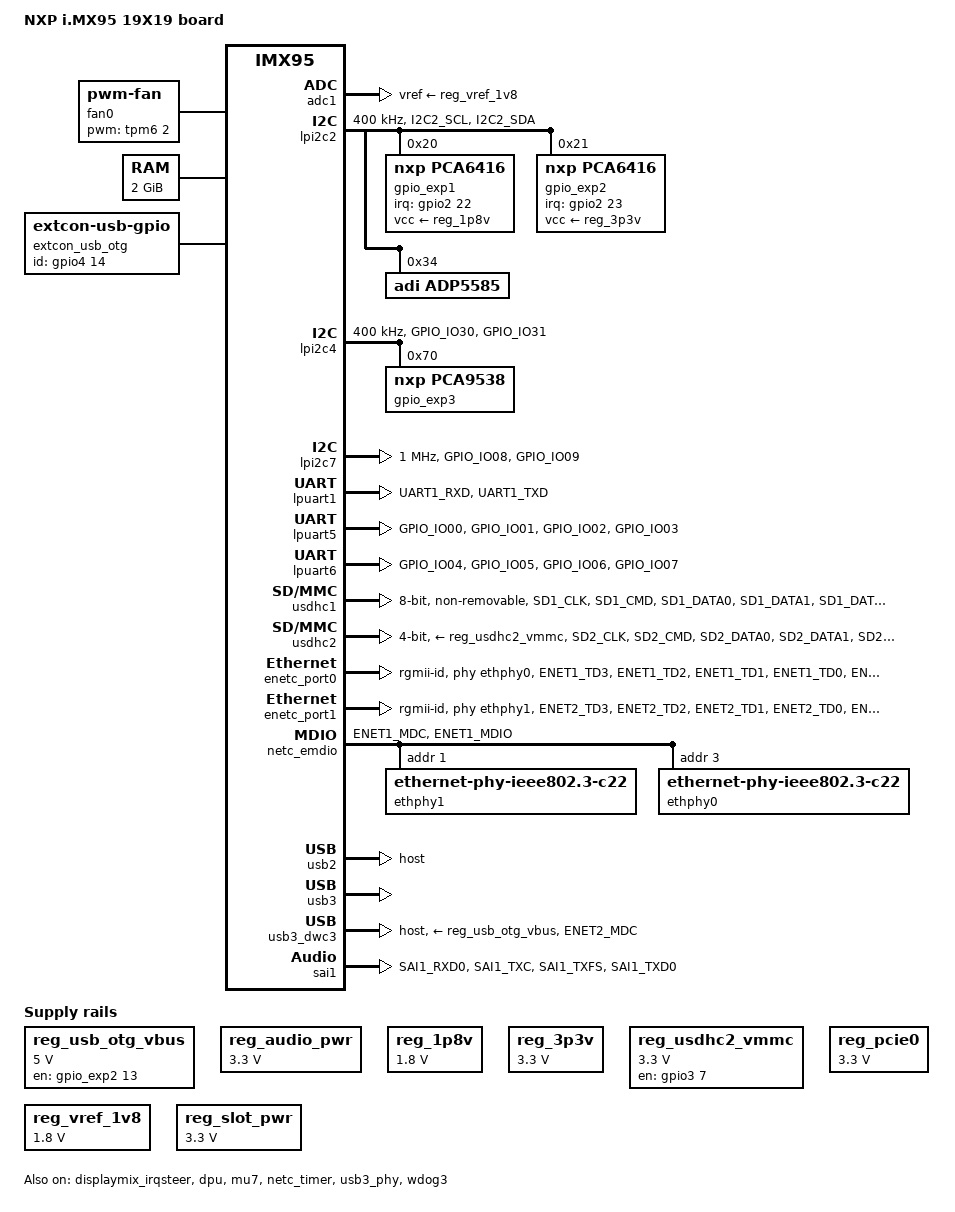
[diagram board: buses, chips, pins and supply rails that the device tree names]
// SPDX-License-Identifier: (GPL-2.0+ OR MIT)
/*
 * Copyright 2023 NXP
 */

/dts-v1/;

#include <dt-bindings/phy/phy-imx8-pcie.h>
#include <dt-bindings/pwm/pwm.h>
#include <dt-bindings/usb/pd.h>
#include "imx95.dtsi"

#define FALLING_EDGE		BIT(0)
#define RISING_EDGE		BIT(1)

/ {
	model = "NXP i.MX95 19X19 board";
	compatible = "fsl,imx95-19x19-evk", "fsl,imx95";

	aliases {
		/* ethernet0,1 swap */
		ethernet0 = &enetc_port1;
		ethernet1 = &enetc_port0;
	};

	chosen {
		stdout-path = &lpuart1;
		#address-cells = <2>;
		#size-cells = <2>;
		/* will be updated by U-boot when booting Xen */
		module@0 {
			bootargs = "earlycon=xen console=hvc0 loglevel=8 root=/dev/mmcblk1p2 rw rootwait";
			compatible = "xen,linux-zimage", "xen,multiboot-module";
			reg = <0x00000000 0x9e000000 0x00000000 0x2000000>;
		};
	};

	fan0: pwm-fan {
		compatible = "pwm-fan";
		cooling-min-state = <0>;
		cooling-max-state = <3>;
		#cooling-cells = <2>;
		pwms = <&tpm6 2 4000000 PWM_POLARITY_INVERTED>;
		cooling-levels = <64 128 192 255>;
	};

	memory@80000000 {
		device_type = "memory";
		reg = <0x0 0x80000000 0 0x80000000>;
	};

	reserved-memory {
		#address-cells = <2>;
		#size-cells = <2>;
		ranges;

		linux_cma: linux,cma {
			compatible = "shared-dma-pool";
			reusable;
			size = <0 0x3c000000>;
			alloc-ranges = <0 0x80000000 0 0x7F000000>;
			linux,cma-default;
		};

		vpu_boot: vpu_boot@a0000000 {
			reg = <0 0xa0000000 0 0x100000>;
			no-map;
		};

		vdev0vring0: vdev0vring0@88000000 {
			reg = <0 0x88000000 0 0x8000>;
			no-map;
		};

		vdev0vring1: vdev0vring1@88008000 {
			reg = <0 0x88008000 0 0x8000>;
			no-map;
		};

		vdev1vring0: vdev1vring0@88010000 {
			reg = <0 0x88010000 0 0x8000>;
			no-map;
		};

		vdev1vring1: vdev1vring1@88018000 {
			reg = <0 0x88018000 0 0x8000>;
			no-map;
		};

		rsc_table: rsc-table@88220000 {
			reg = <0 0x88220000 0 0x1000>;
			no-map;
		};

		vdevbuffer: vdevbuffer@88020000 {
			compatible = "shared-dma-pool";
			reg = <0 0x88020000 0 0x100000>;
			no-map;
		};
	};

	reg_usb_otg_vbus: regulator-usb-vbus {
		compatible = "regulator-fixed";
		regulator-name = "usb_otg_vbus";
		regulator-min-microvolt = <5000000>;
		regulator-max-microvolt = <5000000>;
		gpio = <&gpio_exp2 13 GPIO_ACTIVE_HIGH>;
		enable-active-high;
		regulator-always-on;
	};

	reg_audio_pwr: regulator-audio-pwr {
		compatible = "regulator-fixed";
		regulator-name = "audio-pwr";
		regulator-min-microvolt = <3300000>;
		regulator-max-microvolt = <3300000>;
		enable-active-high;
	};

	reg_1p8v: regulator-1p8v {
		compatible = "regulator-fixed";
		regulator-max-microvolt = <1800000>;
		regulator-min-microvolt = <1800000>;
		regulator-name = "+V1.8_SW";
	};

	reg_3p3v: regulator-3p3v {
		compatible = "regulator-fixed";
		regulator-max-microvolt = <3300000>;
		regulator-min-microvolt = <3300000>;
		regulator-name = "+V3.3_SW";
	};

	reg_usdhc2_vmmc: regulator-usdhc2 {
		compatible = "regulator-fixed";
		pinctrl-names = "default";
		pinctrl-0 = <&pinctrl_reg_usdhc2_vmmc>;
		regulator-name = "VDD_SD2_3V3";
		regulator-min-microvolt = <3300000>;
		regulator-max-microvolt = <3300000>;
		gpio = <&gpio3 7 GPIO_ACTIVE_HIGH>;
		off-on-delay-us = <12000>;
		enable-active-high;
	};

	reg_pcie0: regulator-pcie {
		compatible = "regulator-fixed";
		regulator-name = "PCIE_WLAN_EN";
		regulator-min-microvolt = <3300000>;
		regulator-max-microvolt = <3300000>;
		enable-active-high;
		regulator-always-on;
	};

	reg_vref_1v8: regulator-adc-vref {
		compatible = "regulator-fixed";
		regulator-name = "vref_1v8";
		regulator-min-microvolt = <1800000>;
		regulator-max-microvolt = <1800000>;
	};

	reg_slot_pwr: regulator-slot-pwr {
		compatible = "regulator-fixed";
		regulator-name = "PCIe slot-power";
		regulator-min-microvolt = <3300000>;
		regulator-max-microvolt = <3300000>;
		enable-active-high;
		regulator-always-on;
	};

	cm7: imx95-cm7 {
		compatible = "fsl,imx95-cm7";
		mbox-names = "tx", "rx", "rxdb";
		mboxes = <&mu7 0 1
			  &mu7 1 1
			  &mu7 3 1>;
		memory-region = <&vdevbuffer>, <&vdev0vring0>, <&vdev0vring1>,
				<&vdev1vring0>, <&vdev1vring1>, <&rsc_table>;
		fsl,startup-delay-ms = <50>;
		status = "okay";
	};

	extcon_usb_otg: extcon_usb_otg@1 {
		compatible = "linux,extcon-usb-gpio";
		id-gpio = <&gpio4 14 GPIO_ACTIVE_HIGH>;
	};
};

&adc1 {
	vref-supply = <&reg_vref_1v8>;
	status = "okay";
};

&displaymix_irqsteer {
	status = "okay";
};

&dpu {
	status = "okay";
};

/* pin conflict with PDM */
&flexcan1 {
	pinctrl-names = "default";
	pinctrl-0 = <&pinctrl_flexcan1>;
	status = "disabled";
};

&lpi2c2 {
	#address-cells = <1>;
	#size-cells = <0>;
	clock-frequency = <400000>;
	pinctrl-names = "default", "sleep";
	pinctrl-0 = <&pinctrl_lpi2c2>;
	pinctrl-1 = <&pinctrl_lpi2c2>;
	status = "okay";

	gpio_exp1: pca6416@20 {
		compatible = "nxp,pca6416";
		#gpio-cells = <2>;
		gpio-controller;
		reg = <0x20>;
		interrupt-controller;
		#interrupt-cells = <2>;
		interrupt-parent = <&gpio2>;
		interrupts = <22 IRQ_TYPE_EDGE_FALLING>;
		pinctrl-names = "default";
		pinctrl-0 = <&pinctrl_gpioexp1>;
		vcc-supply = <&reg_1p8v>;
	};

	gpio_exp2: pca6416@21 {
		compatible = "nxp,pca6416";
		#gpio-cells = <2>;
		gpio-controller;
		reg = <0x21>;
		interrupt-controller;
		#interrupt-cells = <2>;
		interrupt-parent = <&gpio2>;
		interrupts = <23 IRQ_TYPE_LEVEL_LOW>;
		pinctrl-names = "default";
		pinctrl-0 = <&pinctrl_gpioexp2>;
		vcc-supply = <&reg_3p3v>;
	};

	adp5585: mfd@34 {
		compatible = "adi,adp5585";
		reg = <0x34>;

		adp5585gpio: gpio-adp5585 {
			compatible = "adp5585-gpio";
			gpio-controller;
			#gpio-cells = <2>;
		};

		adp5585pwm: pwm-adp5585 {
			compatible = "adp5585-pwm";
			#pwm-cells = <3>;
		};
	};
};

&lpi2c4 {
	#address-cells = <1>;
	#size-cells = <0>;
	clock-frequency = <400000>;
	pinctrl-names = "default", "sleep";
	pinctrl-0 = <&pinctrl_lpi2c4>;
	pinctrl-1 = <&pinctrl_lpi2c4>;
	status = "okay";

	gpio_exp3: tca9538@70 {
		compatible = "nxp,pca9538";
		reg = <0x70>;
		gpio-controller;
		#gpio-cells = <2>;
	};
};

&lpi2c7 {
	#address-cells = <1>;
	#size-cells = <0>;
	clock-frequency = <1000000>;
	pinctrl-names = "default", "sleep";
	pinctrl-0 = <&pinctrl_lpi2c7>;
	pinctrl-1 = <&pinctrl_lpi2c7>;
	status = "okay";
};

&lpuart1 {
	/* console */
	pinctrl-names = "default";
	pinctrl-0 = <&pinctrl_uart1>;
	status = "okay";
};

&lpuart5 {
	/* BT */
	pinctrl-names = "default";
	pinctrl-0 = <&pinctrl_uart5>;
	fsl,uart-has-rtscts;
	linux,rs485-enabled-at-boot-time;
	rs485-rx-during-tx;
	status = "okay";
};

&lpuart6 {
	pinctrl-names = "default";
	pinctrl-0 = <&pinctrl_uart6>;
	fsl,uart-has-rtscts;
	linux,rs485-enabled-at-boot-time;
	rs485-rx-during-tx;
	status = "okay";
};

&mu7 {
	status = "okay";
};

&usdhc1 {
	pinctrl-names = "default", "state_100mhz", "state_200mhz", "sleep";
	pinctrl-0 = <&pinctrl_usdhc1>;
	pinctrl-1 = <&pinctrl_usdhc1_100mhz>;
	pinctrl-2 = <&pinctrl_usdhc1_200mhz>;
	pinctrl-3 = <&pinctrl_usdhc1>;
	bus-width = <8>;
	non-removable;
	no-sdio;
	no-sd;
	status = "okay";
};

&usdhc2 {
	pinctrl-names = "default", "state_100mhz", "state_200mhz", "sleep";
	pinctrl-0 = <&pinctrl_usdhc2>, <&pinctrl_usdhc2_gpio>;
	pinctrl-1 = <&pinctrl_usdhc2_100mhz>, <&pinctrl_usdhc2_gpio>;
	pinctrl-2 = <&pinctrl_usdhc2_200mhz>, <&pinctrl_usdhc2_gpio>;
	pinctrl-3 = <&pinctrl_usdhc2>, <&pinctrl_usdhc2_gpio>;
	cd-gpios = <&gpio3 00 GPIO_ACTIVE_LOW>;
	fsl,cd-gpio-wakeup-disable;
	vmmc-supply = <&reg_usdhc2_vmmc>;
	bus-width = <4>;
	status = "okay";
};

&enetc_port0 {
	pinctrl-names = "default";
	pinctrl-0 = <&pinctrl_enetc0>;
	phy-handle = <&ethphy0>;
	phy-mode = "rgmii-id";
	if-name = "eth1"; /* ethernet0,1 swap */
	status = "okay";
};

&enetc_port1 {
	pinctrl-names = "default";
	pinctrl-0 = <&pinctrl_enetc1>;
	phy-handle = <&ethphy1>;
	phy-mode = "rgmii-id";
	if-name = "eth0"; /* ethernet0,1 swap */
	status = "okay";
};

&netc_timer {
	status = "okay";
};

&netc_prb_ierb {
	netc-interfaces = <NXP_NETC_RGMII
			   NXP_NETC_RGMII
			   NXP_NETC_SERIAL>;
};

&netc_emdio {
	pinctrl-names = "default";
	pinctrl-0 = <&pinctrl_emdio>;
	status = "okay";

	ethphy1: ethernet-phy@1 {
		compatible = "ethernet-phy-ieee802.3-c22";
		reg = <1>;
		eee-broken-1000t;
	};

	ethphy0: ethernet-phy@3 {
		compatible = "ethernet-phy-ieee802.3-c22";
		reg = <3>;
		eee-broken-1000t;
	};
};

&usb2 {
	dr_mode = "host";
	status = "okay";
};

&thermal_zones {
	a55 {
		trips {
			atrip2: trip2 {
				temperature = <55000>;
				hysteresis = <2000>;
				type = "active";
			};

			atrip3: trip3 {
				temperature = <65000>;
				hysteresis = <2000>;
				type = "active";
			};

			atrip4: trip4 {
				temperature = <75000>;
				hysteresis = <2000>;
				type = "active";
			};
		};

		cooling-maps {
			map1 {
				trip = <&atrip2>;
				cooling-device = <&fan0 0 1>;
			};

			map2 {
				trip = <&atrip3>;
				cooling-device = <&fan0 1 2>;
			};

			map3 {
				trip = <&atrip4>;
				cooling-device = <&fan0 2 3>;
			};
		};
	};

	pf09 {
		polling-delay-passive = <250>;
		polling-delay = <2000>;
		thermal-sensors = <&scmi_sensor 2>;
		trips {
			pf09_alert: trip0 {
				temperature = <140000>;
				hysteresis = <2000>;
				type = "passive";
			};

			pf09_crit: trip1 {
				temperature = <155000>;
				hysteresis = <2000>;
				type = "critical";
			};
		};
	};

	pf53_arm {
		polling-delay-passive = <250>;
		polling-delay = <2000>;
		thermal-sensors = <&scmi_sensor 4>;
		trips {
			pf5301_alert: trip0 {
				temperature = <140000>;
				hysteresis = <2000>;
				type = "passive";
			};

			pf5301_crit: trip1 {
				temperature = <155000>;
				hysteresis = <2000>;
				type = "critical";
			};
		};

		cooling-maps {
			map0 {
				trip = <&pf5301_alert>;
				cooling-device =
					<&A55_0 THERMAL_NO_LIMIT THERMAL_NO_LIMIT>,
					<&A55_1 THERMAL_NO_LIMIT THERMAL_NO_LIMIT>,
					<&A55_2 THERMAL_NO_LIMIT THERMAL_NO_LIMIT>,
					<&A55_3 THERMAL_NO_LIMIT THERMAL_NO_LIMIT>,
					<&A55_4 THERMAL_NO_LIMIT THERMAL_NO_LIMIT>,
					<&A55_5 THERMAL_NO_LIMIT THERMAL_NO_LIMIT>;
			};
		};
	};

	pf53_soc {
		polling-delay-passive = <250>;
		polling-delay = <2000>;
		thermal-sensors = <&scmi_sensor 3>;
		trips {
			pf5302_alert: trip0 {
				temperature = <140000>;
				hysteresis = <2000>;
				type = "passive";
			};

			pf5302_crit: trip1 {
				temperature = <155000>;
				hysteresis = <2000>;
				type = "critical";
			};
		};
	};
};

&usb3 {
	status = "okay";
};

&usb3_phy {
	status = "okay";
};

&usb3_dwc3 {
	pinctrl-names = "default";
	pinctrl-0 = <&pinctrl_usb_otg>;
	dr_mode = "host";
	extcon = <&extcon_usb_otg>;
	vbus-supply = <&reg_usb_otg_vbus>;
	status = "okay";
};

&scmi_misc {
	status = "disabled";
};

&scmi_iomuxc {
	
	pinctrl-names = "default";
	pinctrl-0 = <&pinctrl_hog>;

	pinctrl_hog: hoggrp {
		fsl,pins = <
			IMX95_PAD_GPIO_IO12__GPIO2_IO_BIT12		0x51e /* GPIO0 */
			IMX95_PAD_SD3_CMD__GPIO3_IO_BIT21		0x51e /* GPIO2 */
			IMX95_PAD_SD3_DATA1__GPIO3_IO_BIT23		0x51e /* GPIO4 */
			IMX95_PAD_GPIO_IO16__GPIO2_IO_BIT16		0x51e /* GPIO5 */
			IMX95_PAD_SD3_DATA2__GPIO3_IO_BIT24		0x51e /* GPIO6 */
			IMX95_PAD_SD3_DATA3__GPIO3_IO_BIT25		0x51e /* GPIO7 */
		>;
	};

	pinctrl_flexcan1: flexcan1grp {
		fsl,pins = <
			IMX95_PAD_PDM_CLK__AONMIX_TOP_CAN1_TX		0x39e
			IMX95_PAD_PDM_BIT_STREAM0__AONMIX_TOP_CAN1_RX	0x39e
		>;
	};

	pinctrl_lpi2c1: lpi2c1grp {
		fsl,pins = <
			IMX95_PAD_I2C1_SCL__AONMIX_TOP_LPI2C1_SCL	0x40000b9e
			IMX95_PAD_I2C1_SDA__AONMIX_TOP_LPI2C1_SDA	0x40000b9e
		>;
	};

	pinctrl_lpi2c2: lpi2c2grp {
		fsl,pins = <
			IMX95_PAD_I2C2_SCL__AONMIX_TOP_LPI2C2_SCL	0x40000b9e
			IMX95_PAD_I2C2_SDA__AONMIX_TOP_LPI2C2_SDA	0x40000b9e
		>;
	};

	pinctrl_lpi2c4: lpi2c4grp {
		fsl,pins = <
			IMX95_PAD_GPIO_IO30__LPI2C4_SDA			0x40000b9e
			IMX95_PAD_GPIO_IO31__LPI2C4_SCL			0x40000b9e
		>;
	};

	pinctrl_lpi2c7: lpi2c7grp {
		fsl,pins = <
			IMX95_PAD_GPIO_IO08__LPI2C7_SDA			0x40000b9e
			IMX95_PAD_GPIO_IO09__LPI2C7_SCL			0x40000b9e
		>;
	};

	pinctrl_uart1: uart1grp {
		fsl,pins = <
			IMX95_PAD_UART1_RXD__AONMIX_TOP_LPUART1_RX      0x31e
			IMX95_PAD_UART1_TXD__AONMIX_TOP_LPUART1_TX      0x31e
		>;
	};

	pinctrl_uart5: uart5grp {
		fsl,pins = <
			IMX95_PAD_GPIO_IO00__LPUART5_TX			0x31e
			IMX95_PAD_GPIO_IO01__LPUART5_RX			0x31e
			IMX95_PAD_GPIO_IO02__LPUART5_CTS_B		0x31e
			IMX95_PAD_GPIO_IO03__LPUART5_RTS_B		0x31e
		>;
	};

	pinctrl_uart6: uart6grp {
		fsl,pins = <
			IMX95_PAD_GPIO_IO04__LPUART6_TX			0x31e
			IMX95_PAD_GPIO_IO05__LPUART6_RX			0x31e
			IMX95_PAD_GPIO_IO06__LPUART6_CTS_B		0x31e
			IMX95_PAD_GPIO_IO07__LPUART6_RTS_B		0x31e
		>;
	};

	pinctrl_emdio: emdiogrp{
		fsl,pins = <
			IMX95_PAD_ENET1_MDC__NETCMIX_TOP_NETC_MDC		0x57e
			IMX95_PAD_ENET1_MDIO__NETCMIX_TOP_NETC_MDIO		0x97e
		>;
	};

	pinctrl_enetc1: enetc1grp {
		fsl,pins = <
			IMX95_PAD_ENET2_TD3__NETCMIX_TOP_ETH1_RGMII_TD3		0x57e
			IMX95_PAD_ENET2_TD2__NETCMIX_TOP_ETH1_RGMII_TD2		0x57e
			IMX95_PAD_ENET2_TD1__NETCMIX_TOP_ETH1_RGMII_TD1		0x57e
			IMX95_PAD_ENET2_TD0__NETCMIX_TOP_ETH1_RGMII_TD0		0x57e
			IMX95_PAD_ENET2_TX_CTL__NETCMIX_TOP_ETH1_RGMII_TX_CTL	0x57e
			IMX95_PAD_ENET2_TXC__NETCMIX_TOP_ETH1_RGMII_TX_CLK	0x5fe
			IMX95_PAD_ENET2_RX_CTL__NETCMIX_TOP_ETH1_RGMII_RX_CTL	0x57e
			IMX95_PAD_ENET2_RXC__NETCMIX_TOP_ETH1_RGMII_RX_CLK	0x5fe
			IMX95_PAD_ENET2_RD0__NETCMIX_TOP_ETH1_RGMII_RD0		0x57e
			IMX95_PAD_ENET2_RD1__NETCMIX_TOP_ETH1_RGMII_RD1		0x57e
			IMX95_PAD_ENET2_RD2__NETCMIX_TOP_ETH1_RGMII_RD2		0x57e
			IMX95_PAD_ENET2_RD3__NETCMIX_TOP_ETH1_RGMII_RD3		0x57e
		>;
	};

	pinctrl_enetc0: enetc0grp {
		fsl,pins = <
			IMX95_PAD_ENET1_TD3__NETCMIX_TOP_ETH0_RGMII_TD3		0x57e
			IMX95_PAD_ENET1_TD2__NETCMIX_TOP_ETH0_RGMII_TD2		0x57e
			IMX95_PAD_ENET1_TD1__NETCMIX_TOP_ETH0_RGMII_TD1		0x57e
			IMX95_PAD_ENET1_TD0__NETCMIX_TOP_ETH0_RGMII_TD0		0x57e
			IMX95_PAD_ENET1_TX_CTL__NETCMIX_TOP_ETH0_RGMII_TX_CTL	0x57e
			IMX95_PAD_ENET1_TXC__NETCMIX_TOP_ETH0_RGMII_TX_CLK	0x58e
			IMX95_PAD_ENET1_RX_CTL__NETCMIX_TOP_ETH0_RGMII_RX_CTL	0x57e
			IMX95_PAD_ENET1_RXC__NETCMIX_TOP_ETH0_RGMII_RX_CLK	0x58e
			IMX95_PAD_ENET1_RD0__NETCMIX_TOP_ETH0_RGMII_RD0		0x57e
			IMX95_PAD_ENET1_RD1__NETCMIX_TOP_ETH0_RGMII_RD1		0x57e
			IMX95_PAD_ENET1_RD2__NETCMIX_TOP_ETH0_RGMII_RD2		0x57e
			IMX95_PAD_ENET1_RD3__NETCMIX_TOP_ETH0_RGMII_RD3		0x57e
		>;
	};

	pinctrl_gpioexp1: gpioexp1grp {
		fsl,pins = <
			IMX95_PAD_GPIO_IO22__GPIO2_IO_BIT22			0x31e
		>;
	};

	pinctrl_gpioexp2: gpioexp2grp {
		fsl,pins = <
			IMX95_PAD_GPIO_IO23__GPIO2_IO_BIT23			0x31e
		>;
	};

	pinctrl_sai1: sai1grp {
		fsl,pins = <
			IMX95_PAD_SAI1_RXD0__AONMIX_TOP_SAI1_RX_DATA_BIT0    0x31e
			IMX95_PAD_SAI1_TXC__AONMIX_TOP_SAI1_TX_BCLK      0x31e
			IMX95_PAD_SAI1_TXFS__AONMIX_TOP_SAI1_TX_SYNC     0x31e
			IMX95_PAD_SAI1_TXD0__AONMIX_TOP_SAI1_TX_DATA_BIT0    0x31e
		>;
	};

	pinctrl_usb_otg: usb_otg_grp {
		fsl,pins = <
			IMX95_PAD_ENET2_MDC__GPIO4_IO_BIT14			0x31e
		>;
	};

	pinctrl_usdhc1: usdhc1grp {
		fsl,pins = <
			IMX95_PAD_SD1_CLK__USDHC1_CLK				0x158e
			IMX95_PAD_SD1_CMD__USDHC1_CMD				0x138e
			IMX95_PAD_SD1_DATA0__USDHC1_DATA0			0x138e
			IMX95_PAD_SD1_DATA1__USDHC1_DATA1			0x138e
			IMX95_PAD_SD1_DATA2__USDHC1_DATA2			0x138e
			IMX95_PAD_SD1_DATA3__USDHC1_DATA3			0x138e
			IMX95_PAD_SD1_DATA4__USDHC1_DATA4			0x138e
			IMX95_PAD_SD1_DATA5__USDHC1_DATA5			0x138e
			IMX95_PAD_SD1_DATA6__USDHC1_DATA6			0x138e
			IMX95_PAD_SD1_DATA7__USDHC1_DATA7			0x138e
			IMX95_PAD_SD1_STROBE__USDHC1_STROBE			0x158e
		>;
	};

	pinctrl_usdhc1_100mhz: usdhc1-100mhzgrp {
		fsl,pins = <
			IMX95_PAD_SD1_CLK__USDHC1_CLK				0x158e
			IMX95_PAD_SD1_CMD__USDHC1_CMD				0x138e
			IMX95_PAD_SD1_DATA0__USDHC1_DATA0			0x138e
			IMX95_PAD_SD1_DATA1__USDHC1_DATA1			0x138e
			IMX95_PAD_SD1_DATA2__USDHC1_DATA2			0x138e
			IMX95_PAD_SD1_DATA3__USDHC1_DATA3			0x138e
			IMX95_PAD_SD1_DATA4__USDHC1_DATA4			0x138e
			IMX95_PAD_SD1_DATA5__USDHC1_DATA5			0x138e
			IMX95_PAD_SD1_DATA6__USDHC1_DATA6			0x138e
			IMX95_PAD_SD1_DATA7__USDHC1_DATA7			0x138e
			IMX95_PAD_SD1_STROBE__USDHC1_STROBE			0x158e
		>;
	};

	pinctrl_usdhc1_200mhz: usdhc1-200mhzgrp {
		fsl,pins = <
			IMX95_PAD_SD1_CLK__USDHC1_CLK				0x15fe
			IMX95_PAD_SD1_CMD__USDHC1_CMD				0x13fe
			IMX95_PAD_SD1_DATA0__USDHC1_DATA0			0x13fe
			IMX95_PAD_SD1_DATA1__USDHC1_DATA1			0x13fe
			IMX95_PAD_SD1_DATA2__USDHC1_DATA2			0x13fe
			IMX95_PAD_SD1_DATA3__USDHC1_DATA3			0x13fe
			IMX95_PAD_SD1_DATA4__USDHC1_DATA4			0x13fe
			IMX95_PAD_SD1_DATA5__USDHC1_DATA5			0x13fe
			IMX95_PAD_SD1_DATA6__USDHC1_DATA6			0x13fe
			IMX95_PAD_SD1_DATA7__USDHC1_DATA7			0x13fe
			IMX95_PAD_SD1_STROBE__USDHC1_STROBE			0x15fe
		>;
	};

	pinctrl_reg_usdhc2_vmmc: regusdhc2vmmcgrp {
		fsl,pins = <
			IMX95_PAD_SD2_RESET_B__GPIO3_IO_BIT7			0x31e
		>;
	};

	pinctrl_usdhc2_gpio: usdhc2gpiogrp {
		fsl,pins = <
			IMX95_PAD_SD2_CD_B__GPIO3_IO_BIT0			0x31e
		>;
	};

	pinctrl_usdhc2: usdhc2grp {
		fsl,pins = <
			IMX95_PAD_SD2_CLK__USDHC2_CLK				0x158e
			IMX95_PAD_SD2_CMD__USDHC2_CMD				0x138e
			IMX95_PAD_SD2_DATA0__USDHC2_DATA0			0x138e
			IMX95_PAD_SD2_DATA1__USDHC2_DATA1			0x138e
			IMX95_PAD_SD2_DATA2__USDHC2_DATA2			0x138e
			IMX95_PAD_SD2_DATA3__USDHC2_DATA3			0x138e
			IMX95_PAD_SD2_VSELECT__USDHC2_VSELECT			0x51e
		>;
	};

	pinctrl_usdhc2_100mhz: usdhc2-100mhzgrp {
		fsl,pins = <
			IMX95_PAD_SD2_CLK__USDHC2_CLK				0x158e
			IMX95_PAD_SD2_CMD__USDHC2_CMD				0x138e
			IMX95_PAD_SD2_DATA0__USDHC2_DATA0			0x138e
			IMX95_PAD_SD2_DATA1__USDHC2_DATA1			0x138e
			IMX95_PAD_SD2_DATA2__USDHC2_DATA2			0x138e
			IMX95_PAD_SD2_DATA3__USDHC2_DATA3			0x138e
			IMX95_PAD_SD2_VSELECT__USDHC2_VSELECT			0x51e
		>;
	};

	pinctrl_usdhc2_200mhz: usdhc2-200mhzgrp {
		fsl,pins = <
			IMX95_PAD_SD2_CLK__USDHC2_CLK				0x15fe
			IMX95_PAD_SD2_CMD__USDHC2_CMD				0x13fe
			IMX95_PAD_SD2_DATA0__USDHC2_DATA0			0x13fe
			IMX95_PAD_SD2_DATA1__USDHC2_DATA1			0x13fe
			IMX95_PAD_SD2_DATA2__USDHC2_DATA2			0x13fe
			IMX95_PAD_SD2_DATA3__USDHC2_DATA3			0x13fe
			IMX95_PAD_SD2_VSELECT__USDHC2_VSELECT			0x51e
		>;
	};
};

&vpuctrl {
	boot = <&vpu_boot>;
	sram = <&sram1>;
};

&wdog3 {
	status = "okay";
};

&sai1 {
	#sound-dai-cells = <0>;
	pinctrl-names = "default";
	pinctrl-0 = <&pinctrl_sai1>;
	assigned-clocks = <&scmi_clk IMX95_CLK_AUDIOPLL1_VCO>,
			  <&scmi_clk IMX95_CLK_AUDIOPLL2_VCO>,
			  <&scmi_clk IMX95_CLK_AUDIOPLL1>,
			  <&scmi_clk IMX95_CLK_AUDIOPLL2>,
			  <&scmi_clk IMX95_CLK_SAI1>;
	assigned-clock-parents = <0>, <0>, <0>, <0>,
				 <&scmi_clk IMX95_CLK_AUDIOPLL1>;
	assigned-clock-rates = <3932160000>,
			       <3612672000>, <393216000>,
			       <361267200>, <12288000>;
	fsl,sai-mclk-direction-output;
	status = "okay";
};

